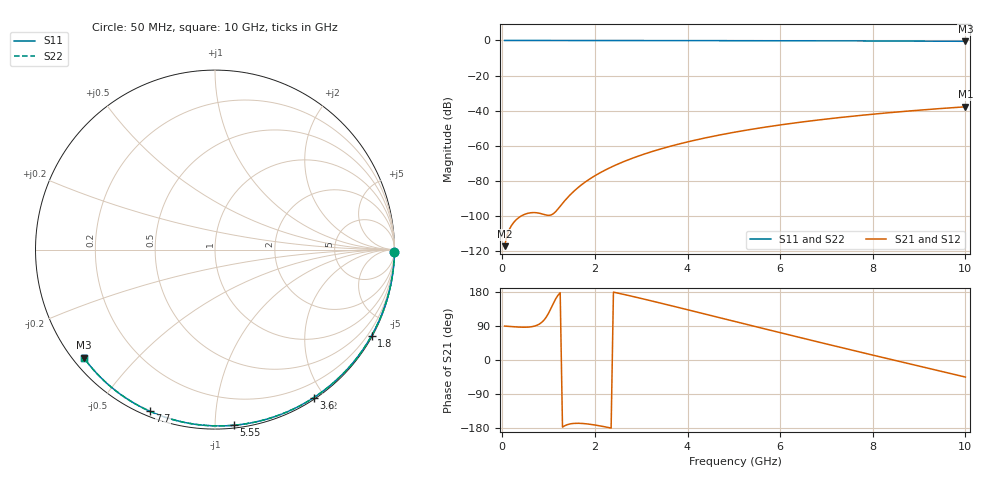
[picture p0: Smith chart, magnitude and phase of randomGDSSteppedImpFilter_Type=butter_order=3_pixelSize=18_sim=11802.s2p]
! freq	dB(S11)	phase(S11)	dB(S12)	phase(S12)
!  dB(S21)	phase(S21)	dB(S22)	phase(S22)
!S-par simulation data
#  GHz  S  DB  R 50
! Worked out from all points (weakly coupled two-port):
!   200 points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, 50 MHz to 10 GHz, reference 50 ohm
!   highest |S21| = -37.73 dB at 10 GHz (marker M1); lowest = -117.0 dB at 50 MHz (marker M2)
!   lowest |S11| = -0.5 dB at 10 GHz (marker M3), VSWR 36.80, Z = 1.53 - j18 ohm
!   |S11| at or under -10 dB: nowhere
!   |S22| runs from -0.5 to 0.0 dB; largest |S21 - S12| = 0
!   S11 on the Smith chart (normalised r, x): 50 MHz: open; 1.8 GHz: 0.03, -3.89; 3.6 GHz: 0.02, -1.87; 5.55 GHz: 0.02, -1.11; 7.7 GHz: 0.02, -0.67; 10 GHz: 0.03, -0.36
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0.05  -0.00 -0.8  -116.98 89.5  -116.98 89.5  -0.00 -0.8
0.45  -0.01 -7.3  -99.24 86.5  -99.24 86.5  -0.01 -7.3
0.9  -0.02 -14.6  -98.95 105.2  -98.95 105.2  -0.02 -14.6
1.75  -0.04 -28.0  -81.30 -167.7  -81.30 -167.7  -0.04 -28.0
1.8  -0.04 -28.8  -80.34 -168.2  -80.34 -168.2  -0.04 -28.8
1.85  -0.04 -29.6  -79.44 -168.9  -79.44 -168.9  -0.04 -29.6
2  -0.04 -31.9  -76.93 -171.6  -76.93 -171.6  -0.04 -31.9
2.15  -0.04 -34.3  -74.69 -174.8  -74.69 -174.8  -0.04 -34.3
2.35  -0.05 -37.4  -72.04 -179.6  -72.04 -179.6  -0.05 -37.4
2.55  -0.05 -40.5  -69.68 175.1  -69.68 175.1  -0.05 -40.5
2.95  -0.06 -46.6  -65.64 163.9  -65.64 163.9  -0.06 -46.6
3.4  -0.07 -53.3  -61.85 150.7  -61.85 150.7  -0.07 -53.3
3.6  -0.08 -56.3  -60.37 144.7  -60.37 144.7  -0.08 -56.3
4.3  -0.09 -66.5  -55.89 123.6  -55.89 123.6  -0.09 -66.5
5.05  -0.12 -77.0  -52.01 100.8  -52.01 100.8  -0.12 -77.0
5.55  -0.14 -83.9  -49.81 85.7  -49.81 85.7  -0.14 -83.9
6.1  -0.16 -91.3  -47.67 69.1  -47.67 69.1  -0.16 -91.3
6.7  -0.19 -99.2  -45.62 51.2  -45.62 51.2  -0.19 -99.2
7.7  -0.26 -112.0  -42.71 21.7  -42.71 21.7  -0.26 -112.0
8.35  -0.31 -120.1  -41.09 2.7  -41.09 2.7  -0.31 -120.1
9.2  -0.38 -130.6  -39.23 -21.9  -39.23 -21.9  -0.38 -130.6
10  -0.47 -140.5  -37.73 -45.0  -37.73 -45.0  -0.47 -140.5
